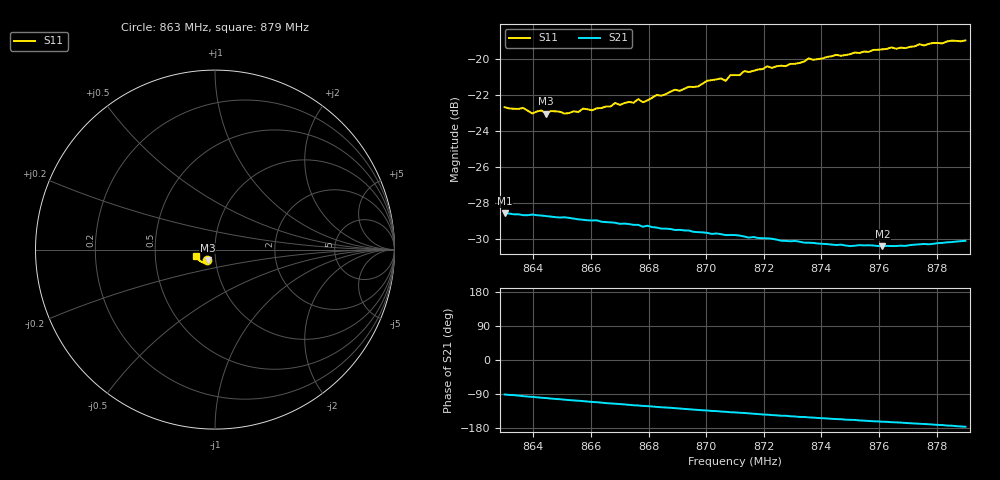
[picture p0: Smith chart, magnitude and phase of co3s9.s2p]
# HZ S RI R 50
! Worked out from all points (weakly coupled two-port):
!   101 points, 863 MHz to 879 MHz, reference 50 ohm
!   highest |S21| = -28.55 dB at 863 MHz (marker M1); lowest = -30.4 dB at 876.12 MHz (marker M2)
!   lowest |S11| = -23.0 dB at 864.44 MHz (marker M3), VSWR 1.15, Z = 45.9 - j5.39 ohm
!   |S11| at or under -10 dB: start of sweep to end of sweep
!   S12 and S22 are empty: the file has one direction only
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8.63e8  -0.0441 -0.059  -0.000656 -0.0374  0 0  0 0
8.6364e8  -0.0426 -0.0596  -0.00344 -0.0368  0 0  0 0
8.6396e8  -0.0393 -0.0588  -0.0047 -0.0368  0 0  0 0
8.6428e8  -0.0396 -0.0603  -0.00616 -0.0363  0 0  0 0
8.6444e8  -0.0397 -0.0584  -0.00661 -0.0361  0 0  0 0
8.6556e8  -0.0384 -0.0602  -0.0108 -0.0343  0 0  0 0
8.6572e8  -0.0371 -0.0629  -0.0114 -0.034  0 0  0 0
8.6604e8  -0.0379 -0.0614  -0.0126 -0.0334  0 0  0 0
8.6748e8  -0.0382 -0.0655  -0.017 -0.0302  0 0  0 0
8.6764e8  -0.0392 -0.0669  -0.0174 -0.03  0 0  0 0
8.678e8  -0.039 -0.0652  -0.0178 -0.0293  0 0  0 0
8.6844e8  -0.0402 -0.0683  -0.0193 -0.0278  0 0  0 0
8.6892e8  -0.043 -0.0702  -0.0203 -0.0268  0 0  0 0
8.6972e8  -0.046 -0.0704  -0.0221 -0.0247  0 0  0 0
8.7004e8  -0.0484 -0.0726  -0.0226 -0.024  0 0  0 0
8.7068e8  -0.0498 -0.0715  -0.0236 -0.0223  0 0  0 0
8.7084e8  -0.0535 -0.0728  -0.0241 -0.0218  0 0  0 0
8.71e8  -0.0538 -0.0727  -0.0242 -0.0217  0 0  0 0
8.7372e8  -0.0719 -0.0691  -0.0273 -0.0145  0 0  0 0
8.7612e8  -0.0889 -0.0588  -0.0289 -0.0089  0 0  0 0
8.7644e8  -0.0918 -0.0569  -0.0292 -0.00825  0 0  0 0
8.79e8  -0.1064 -0.0375  -0.0313 -0.00209  0 0  0 0
